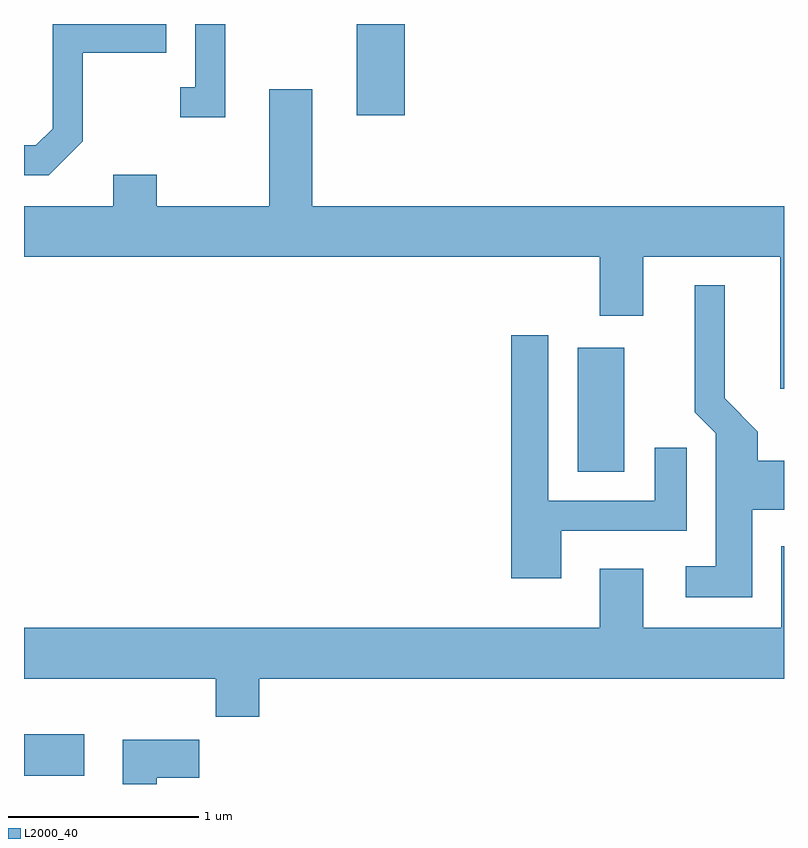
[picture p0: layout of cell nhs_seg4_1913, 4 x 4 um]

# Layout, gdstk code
import gdstk
lib = gdstk.Library(unit=1e-6, precision=1e-09)
def R(c, l, rs):  # rectangles x0, y0, x1, y1
    for r in rs: c.add(gdstk.rectangle(r[:2], r[2:], *l))
def P(c, l, *ps):  # polygons
    for p in ps: c.add(gdstk.Polygon(p, *l))
L2000_40 = (2000, 40)

nhs_seg4_1913 = lib.new_cell('nhs_seg4_1913')
R(nhs_seg4_1913, L2000_40, [(241.611,1272.026,241.929,1272.244), (244.526,1273.626,244.769,1274.279), (243.361,1275.501,243.614,1275.982)])
P(nhs_seg4_1913, L2000_40, [(241.919,1275.364),(241.919,1275.831),(242.359,1275.831),(242.359,1275.982),(241.761,1275.982),(241.761,1275.432),(241.674,1275.344),(241.611,1275.344),(241.611,1275.186),(241.742,1275.186)],
  [(242.669,1275.982),(242.511,1275.982),(242.511,1275.649),(242.433,1275.649),(242.433,1275.491),(242.669,1275.491)],
  [(245.611,1275.024),(243.129,1275.024),(243.129,1275.639),(242.901,1275.639),(242.901,1275.024),(242.309,1275.024),(242.309,1275.189),(242.081,1275.189),(242.081,1275.024),(241.611,1275.024),(241.611,1274.756),(244.641,1274.756),(244.641,1274.446),(244.869,1274.446),(244.869,1274.756),(245.591,1274.756),(245.591,1274.061),(245.611,1274.061)],
  [(245.444,1273.426),(245.611,1273.426),(245.611,1273.684),(245.474,1273.684),(245.474,1273.837),(245.299,1274.012),(245.299,1274.608),(245.141,1274.608),(245.141,1273.939),(245.251,1273.829),(245.251,1273.129),(245.093,1273.129),(245.093,1272.966),(245.444,1272.966)],
  [(244.439,1273.316),(245.099,1273.316),(245.099,1273.753),(244.931,1273.753),(244.931,1273.474),(244.369,1273.474),(244.369,1274.344),(244.176,1274.344),(244.176,1273.066),(244.439,1273.066)],
  [(242.849,1272.536),(245.611,1272.536),(245.611,1273.233),(245.596,1273.233),(245.596,1272.804),(244.869,1272.804),(244.869,1273.114),(244.641,1273.114),(244.641,1272.804),(241.611,1272.804),(241.611,1272.536),(242.621,1272.536),(242.621,1272.336),(242.849,1272.336)],
  [(242.309,1272.016),(242.534,1272.016),(242.534,1272.214),(242.131,1272.214),(242.131,1271.982),(242.309,1271.982)])

lib.write_gds('nhs_seg4_1913.gds')
